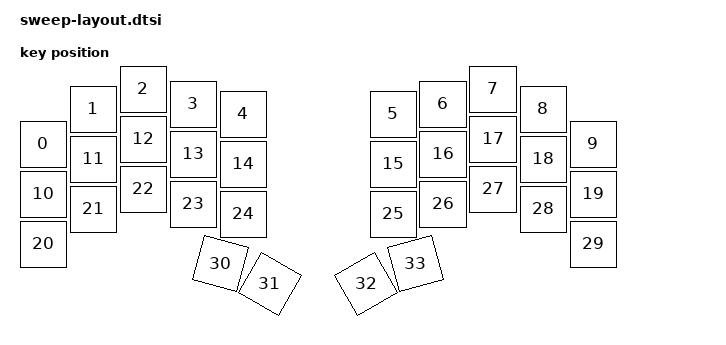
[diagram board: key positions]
#include <physical_layouts.dtsi>

/ {
    sweep_layout: sweep_layout {
        compatible = "zmk,physical-layout";
        display-name = "Default";

        keys  //                     w   h    x    y     rot    rx    ry
            = <&key_physical_attrs 100 100    0  110       0     0     0>
            , <&key_physical_attrs 100 100  100   40       0     0     0>
            , <&key_physical_attrs 100 100  200    0       0     0     0>
            , <&key_physical_attrs 100 100  300   30       0     0     0>
            , <&key_physical_attrs 100 100  400   50       0     0     0>
            , <&key_physical_attrs 100 100  700   50       0     0     0>
            , <&key_physical_attrs 100 100  800   30       0     0     0>
            , <&key_physical_attrs 100 100  900    0       0     0     0>
            , <&key_physical_attrs 100 100 1000   40       0     0     0>
            , <&key_physical_attrs 100 100 1100  110       0     0     0>
            , <&key_physical_attrs 100 100    0  210       0     0     0>
            , <&key_physical_attrs 100 100  100  140       0     0     0>
            , <&key_physical_attrs 100 100  200  100       0     0     0>
            , <&key_physical_attrs 100 100  300  130       0     0     0>
            , <&key_physical_attrs 100 100  400  150       0     0     0>
            , <&key_physical_attrs 100 100  700  150       0     0     0>
            , <&key_physical_attrs 100 100  800  130       0     0     0>
            , <&key_physical_attrs 100 100  900  100       0     0     0>
            , <&key_physical_attrs 100 100 1000  140       0     0     0>
            , <&key_physical_attrs 100 100 1100  210       0     0     0>
            , <&key_physical_attrs 100 100    0  310       0     0     0>
            , <&key_physical_attrs 100 100  100  240       0     0     0>
            , <&key_physical_attrs 100 100  200  200       0     0     0>
            , <&key_physical_attrs 100 100  300  230       0     0     0>
            , <&key_physical_attrs 100 100  400  250       0     0     0>
            , <&key_physical_attrs 100 100  700  250       0     0     0>
            , <&key_physical_attrs 100 100  800  230       0     0     0>
            , <&key_physical_attrs 100 100  900  200       0     0     0>
            , <&key_physical_attrs 100 100 1000  240       0     0     0>
            , <&key_physical_attrs 100 100 1100  310       0     0     0>
            , <&key_physical_attrs 100 100  250  330    1500   280   790>
            , <&key_physical_attrs 100 100  250  330    3000   290   790>
            , <&key_physical_attrs 100 100  850  330 (-3000)   910   790>
            , <&key_physical_attrs 100 100  850  330 (-1500)   920   790>
            ;
    };
};

